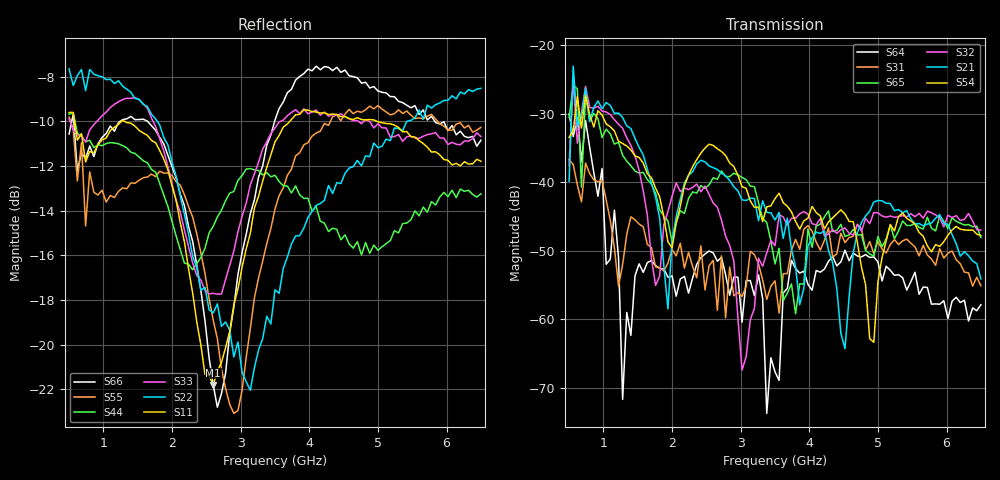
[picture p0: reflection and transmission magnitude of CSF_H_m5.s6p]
!Keysight Technologies,M9804A,MY58100912,A.14.10.03
!Date: Thursday, April 27, 2023 10:28:33
!Correction: S11(C  6-Port  )
!S12(C  6-Port  )
!S13(C  6-Port  )
!S14(C  6-Port  )
!S15(C  6-Port  )
!S16(C  6-Port  )
!S21(C  6-Port  )
!S22(C  6-Port  )
!S23(C  6-Port  )
!S24(C  6-Port  )
!S25(C  6-Port  )
!S26(C  6-Port  )
!S31(C  6-Port  )
!S32(C  6-Port  )
!S33(C  6-Port  )
!S34(C  6-Port  )
!S35(C  6-Port  )
!S36(C  6-Port  )
!S41(C  6-Port  )
!S42(C  6-Port  )
!S43(C  6-Port  )
!S44(C  6-Port  )
!S45(C  6-Port  )
!S46(C  6-Port  )
!S51(C  6-Port  )
!S52(C  6-Port  )
!S53(C  6-Port  )
!S54(C  6-Port  )
!S55(C  6-Port  )
!S56(C  6-Port  )
!S61(C  6-Port  )
!S62(C  6-Port  )
!S63(C  6-Port  )
!S64(C  6-Port  )
!S65(C  6-Port  )
!S66(C  6-Port  )
!S6P File: Measurement: :
# Hz S  RI  R 50
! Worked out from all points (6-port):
!   101 points, 500 MHz to 6.5 GHz, reference 50 ohm
!   strongest paths, dB at 500 MHz, 2 GHz, 3.5 GHz, 5 GHz, 6.5 GHz:
!     S54: -33.4, -49.6, -42.4, -54.5, -47.8
!     S21: -39.8, -48.5, -45.5, -42.7, -54.1
!     S32: -37.5, -42.0, -49.2, -44.5, -47.0
!     S65: -30.5, -48.7, -51.9, -47.9, -48.1
!     S31: -36.7, -49.8, -54.4, -48.6, -55.1
!     S64: -30.0, -53.7, -67.7, -51.6, -57.9
!   lowest |S11| = -21.8 dB at 2.6 GHz (marker M1), VSWR 1.18, Z = 42.7 + j1.93 ohm
!   |S11| at or under -10 dB: 579.5 MHz to 1.263 GHz (683.2 MHz wide, 74.2 % of centre); 1.31 GHz to 3.714 GHz (2.403 GHz wide, 95.7 % of centre); 4.989 GHz to end of sweep
